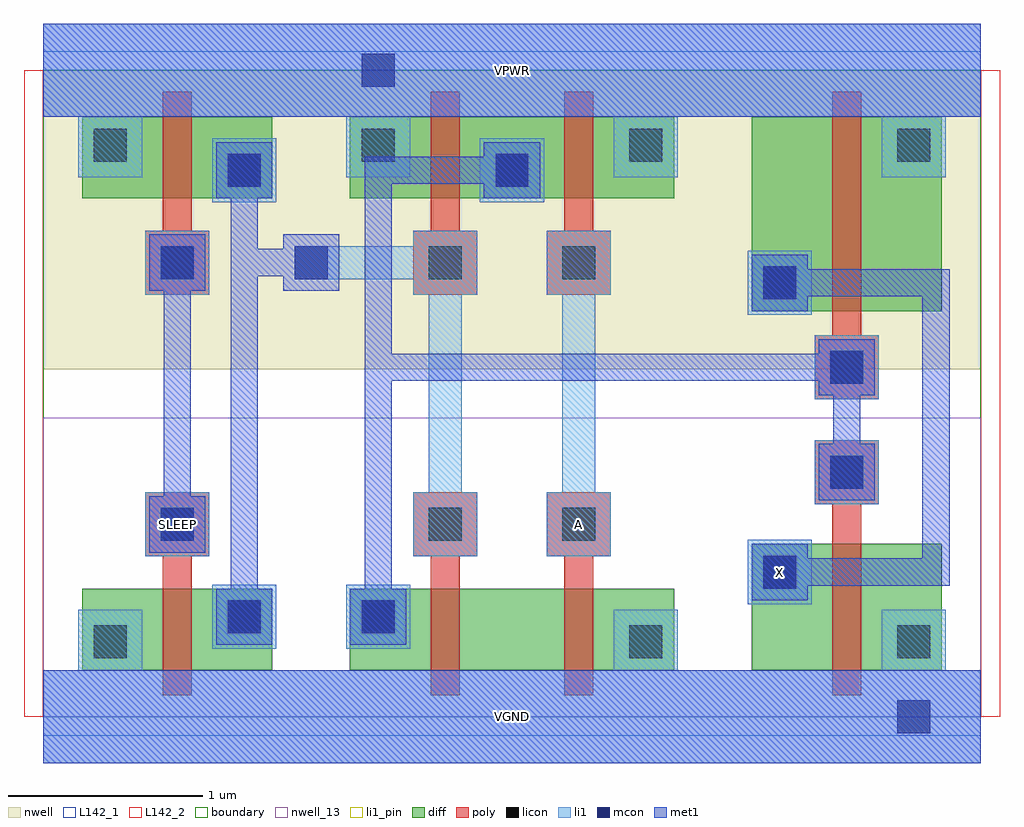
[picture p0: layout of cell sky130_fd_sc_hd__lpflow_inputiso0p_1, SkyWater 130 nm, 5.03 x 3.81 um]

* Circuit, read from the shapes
.subckt sky130_fd_sc_hd__lpflow_inputiso0p_1 A SLEEP VGND VPWR X
XM1 n1 SLEEP VGND VSUBS sky130_fd_pr__nfet_01v8 w=0.42 l=0.15
XM2 n2 n1 n3 VSUBS sky130_fd_pr__nfet_01v8 w=0.42 l=0.15
XM3 VGND A n2 VSUBS sky130_fd_pr__nfet_01v8 w=0.42 l=0.15
XM4 VGND n3 X VSUBS sky130_fd_pr__nfet_01v8 w=0.65 l=0.15
XM5 n1 SLEEP VPWR n4 sky130_fd_pr__pfet_01v8 w=0.42 l=0.15
XM6 n3 n1 VPWR n4 sky130_fd_pr__pfet_01v8 w=0.42 l=0.15
XM7 VPWR A n3 n4 sky130_fd_pr__pfet_01v8 w=0.42 l=0.15
XM8 VPWR n3 X n4 sky130_fd_pr__pfet_01v8 w=1 l=0.15
.ends

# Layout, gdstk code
import gdstk
lib = gdstk.Library(unit=1e-6, precision=1e-09)
def R(c, l, rs):  # rectangles x0, y0, x1, y1
    for r in rs: c.add(gdstk.rectangle(r[:2], r[2:], *l))
def A(c, l, x, y, w, h, nx, ny, dx, dy):  # array of equal rectangles
    R(c, l, [(x+i*dx, y+j*dy, x+i*dx+w, y+j*dy+h) for i in range(nx) for j in range(ny)])
def P(c, l, *ps):  # polygons
    for p in ps: c.add(gdstk.Polygon(p, *l))
nwell_13 = (64, 13)
nwell = (64, 20)
diff = (65, 20)
poly = (66, 20)
licon = (66, 44)
li1_pin = (67, 16)
li1 = (67, 20)
mcon = (67, 44)
met1 = (68, 20)
L142_1 = (142, 1)
L142_2 = (142, 2)
boundary = (235, 4)

sky130_fd_sc_hd__lpflow_ = lib.new_cell('sky130_fd_sc_hd__lpflow_inputiso0p_1')
R(sky130_fd_sc_hd__lpflow_, nwell_13, [(0,0,4.83,1.54)])
R(sky130_fd_sc_hd__lpflow_, nwell, [(0,1.79,4.83,3.33)])
R(sky130_fd_sc_hd__lpflow_, diff, [(0.2,0.24,1.18,0.66), (0.2,0.24,0.615,0.66), (0.615,0.24,1.18,0.66), (1.58,0.24,3.25,0.66), (1.58,0.24,1.995,0.66), (1.995,0.24,2.685,0.66), (2.685,0.24,3.25,0.66), (3.65,0.24,4.63,0.89), (3.65,0.24,4.065,0.89), (4.065,0.24,4.63,0.89), (3.65,2.09,4.63,3.09), (3.65,2.09,4.065,3.09), (4.065,2.09,4.63,3.09), (0.2,2.67,1.18,3.09), (0.2,2.67,0.615,3.09), (0.615,2.67,1.18,3.09), (1.58,2.67,3.25,3.09), (1.58,2.67,1.995,3.09), (1.995,2.67,2.685,3.09), (2.685,2.67,3.25,3.09)])
P(sky130_fd_sc_hd__lpflow_, poly, [(0.615,0.11),(0.615,0.825),(0.525,0.825),(0.525,1.155),(0.855,1.155),(0.855,0.825),(0.765,0.825),(0.765,0.11)],
  [(0.525,2.175),(0.525,2.505),(0.615,2.505),(0.615,3.22),(0.765,3.22),(0.765,2.505),(0.855,2.505),(0.855,2.175)],
  [(4.065,0.11),(4.065,1.095),(3.975,1.095),(3.975,1.425),(4.305,1.425),(4.305,1.095),(4.215,1.095),(4.215,0.11)],
  [(3.975,1.635),(3.975,1.965),(4.065,1.965),(4.065,3.22),(4.215,3.22),(4.215,1.965),(4.305,1.965),(4.305,1.635)],
  [(2.685,0.11),(2.685,0.825),(2.595,0.825),(2.595,1.155),(2.925,1.155),(2.925,0.825),(2.835,0.825),(2.835,0.11)],
  [(2.595,2.175),(2.595,2.505),(2.685,2.505),(2.685,3.22),(2.835,3.22),(2.835,2.505),(2.925,2.505),(2.925,2.175)],
  [(1.995,0.11),(1.995,0.825),(1.905,0.825),(1.905,1.155),(2.235,1.155),(2.235,0.825),(2.145,0.825),(2.145,0.11)],
  [(1.905,2.175),(1.905,2.505),(1.995,2.505),(1.995,3.22),(2.145,3.22),(2.145,2.505),(2.235,2.505),(2.235,2.175)])
A(sky130_fd_sc_hd__lpflow_, licon, 0.26, 2.86, 0.17, 0.17, 4, 1, 1.38, 0)
R(sky130_fd_sc_hd__lpflow_, licon, [(0.26,0.3,0.43,0.47), (3.02,0.3,3.19,0.47), (4.4,0.3,4.57,0.47), (0.95,0.43,1.12,0.6), (1.64,0.43,1.81,0.6), (3.71,0.66,3.88,0.83), (0.605,0.905,0.775,1.075), (1.985,0.905,2.155,1.075), (2.675,0.905,2.845,1.075), (4.055,1.175,4.225,1.345), (4.055,1.715,4.225,1.885), (3.71,2.15,3.88,2.32), (0.605,2.255,0.775,2.425), (1.985,2.255,2.155,2.425), (2.675,2.255,2.845,2.425), (0.95,2.73,1.12,2.9), (2.33,2.73,2.5,2.9)])
R(sky130_fd_sc_hd__lpflow_, li1_pin, [(0,-0.24,4.83,0.24), (3.63,0.58,3.96,0.91), (0.525,0.825,0.855,1.155), (0,3.09,4.83,3.57)])
P(sky130_fd_sc_hd__lpflow_, li1_pin, [(2.595,0.825),(2.595,1.155),(2.675,1.155),(2.675,2.175),(2.595,2.175),(2.595,2.505),(2.925,2.505),(2.925,2.175),(2.845,2.175),(2.845,1.155),(2.925,1.155),(2.925,0.825)])
R(sky130_fd_sc_hd__lpflow_, li1, [(0.87,0.35,1.2,0.68), (1.56,0.35,1.89,0.68), (3.63,0.58,3.96,0.91), (0.525,0.825,0.855,1.155), (3.975,1.095,4.305,1.425), (3.975,1.635,4.305,1.965), (3.63,2.07,3.96,2.4), (0.525,2.175,0.855,2.505), (0.87,2.65,1.2,2.98), (2.25,2.65,2.58,2.98)])
P(sky130_fd_sc_hd__lpflow_, li1, [(0.18,2.78),(0.18,3.09),(0,3.09),(0,3.57),(4.83,3.57),(4.83,3.09),(4.65,3.09),(4.65,2.78),(4.32,2.78),(4.32,3.09),(3.27,3.09),(3.27,2.78),(2.94,2.78),(2.94,3.09),(1.89,3.09),(1.89,2.78),(1.56,2.78),(1.56,3.09),(0.51,3.09),(0.51,2.78)],
  [(0,-0.24),(0,0.24),(0.18,0.24),(0.18,0.55),(0.51,0.55),(0.51,0.24),(2.94,0.24),(2.94,0.55),(3.27,0.55),(3.27,0.24),(4.32,0.24),(4.32,0.55),(4.65,0.55),(4.65,0.24),(4.83,0.24),(4.83,-0.24)],
  [(2.595,0.825),(2.595,1.155),(2.675,1.155),(2.675,2.175),(2.595,2.175),(2.595,2.505),(2.925,2.505),(2.925,2.175),(2.845,2.175),(2.845,1.155),(2.925,1.155),(2.925,0.825)],
  [(1.905,0.825),(1.905,1.155),(1.985,1.155),(1.985,2.175),(1.905,2.175),(1.905,2.255),(1.295,2.255),(1.295,2.425),(1.905,2.425),(1.905,2.505),(2.235,2.505),(2.235,2.175),(2.155,2.175),(2.155,1.155),(2.235,1.155),(2.235,0.825)])
R(sky130_fd_sc_hd__lpflow_, mcon, [(4.4,-0.085,4.57,0.085), (0.95,0.43,1.12,0.6), (1.64,0.43,1.81,0.6), (3.71,0.66,3.88,0.83), (0.605,0.905,0.775,1.075), (4.055,1.175,4.225,1.345), (4.055,1.715,4.225,1.885), (3.71,2.15,3.88,2.32), (0.605,2.255,0.775,2.425), (1.295,2.255,1.465,2.425), (0.95,2.73,1.12,2.9), (2.33,2.73,2.5,2.9), (1.64,3.245,1.81,3.415)])
R(sky130_fd_sc_hd__lpflow_, met1, [(0,-0.24,4.83,0.24), (0,3.09,4.83,3.57)])
P(sky130_fd_sc_hd__lpflow_, met1, [(0.545,0.845),(0.545,1.135),(0.62,1.135),(0.62,2.195),(0.545,2.195),(0.545,2.485),(0.835,2.485),(0.835,2.195),(0.76,2.195),(0.76,1.135),(0.835,1.135),(0.835,0.845)],
  [(1.58,0.37),(1.58,0.66),(1.655,0.66),(1.655,2.885),(2.27,2.885),(2.27,2.96),(2.56,2.96),(2.56,2.67),(2.27,2.67),(2.27,2.745),(1.795,2.745),(1.795,1.87),(3.995,1.87),(3.995,1.945),(4.285,1.945),(4.285,1.655),(4.21,1.655),(4.21,1.405),(4.285,1.405),(4.285,1.115),(3.995,1.115),(3.995,1.405),(4.07,1.405),(4.07,1.655),(3.995,1.655),(3.995,1.73),(1.795,1.73),(1.795,0.66),(1.87,0.66),(1.87,0.37)],
  [(0.89,0.37),(0.89,0.66),(0.965,0.66),(0.965,2.67),(0.89,2.67),(0.89,2.96),(1.18,2.96),(1.18,2.67),(1.105,2.67),(1.105,2.41),(1.235,2.41),(1.235,2.485),(1.525,2.485),(1.525,2.195),(1.235,2.195),(1.235,2.27),(1.105,2.27),(1.105,0.66),(1.18,0.66),(1.18,0.37)],
  [(3.65,0.6),(3.65,0.89),(3.94,0.89),(3.94,0.815),(4.53,0.815),(4.53,2.165),(3.94,2.165),(3.94,2.09),(3.65,2.09),(3.65,2.38),(3.94,2.38),(3.94,2.305),(4.67,2.305),(4.67,0.675),(3.94,0.675),(3.94,0.6)])
R(sky130_fd_sc_hd__lpflow_, L142_1, [(0,-0.1,4.83,0), (0,3.33,4.83,3.43)])
R(sky130_fd_sc_hd__lpflow_, L142_2, [(-0.1,0,0,3.33), (4.83,0,4.93,3.33)])
R(sky130_fd_sc_hd__lpflow_, boundary, [(0,0,4.83,3.33)])
sky130_fd_sc_hd__lpflow_.add(gdstk.Label('X', (3.795,0.745), layer=67, texttype=5))
sky130_fd_sc_hd__lpflow_.add(gdstk.Label('A', (2.76,0.99), layer=67, texttype=5))
sky130_fd_sc_hd__lpflow_.add(gdstk.Label('SLEEP', (0.69,0.99), layer=67, texttype=5))
sky130_fd_sc_hd__lpflow_.add(gdstk.Label('VGND', (2.415,0), layer=67, texttype=5))
sky130_fd_sc_hd__lpflow_.add(gdstk.Label('VPWR', (2.415,3.33), layer=67, texttype=5))
sky130_fd_sc_hd__lpflow_.add(gdstk.Label('VGND', (2.415,0), layer=68, texttype=5))
sky130_fd_sc_hd__lpflow_.add(gdstk.Label('VPWR', (2.415,3.33), layer=68, texttype=5))

lib.write_gds('sky130_fd_sc_hd__lpflow_inputiso0p_1.gds')
